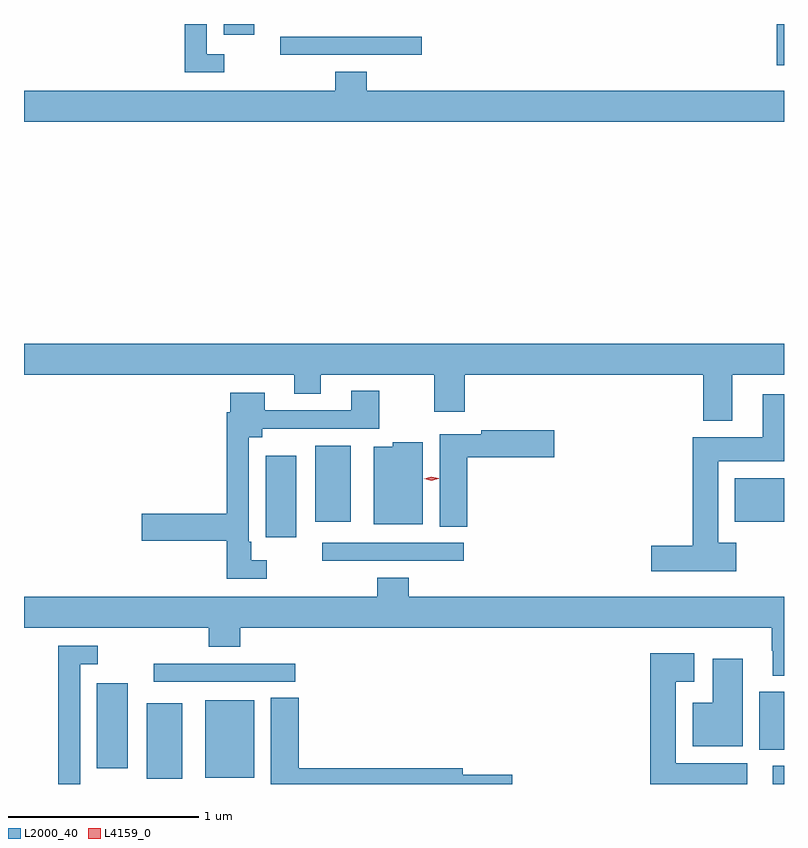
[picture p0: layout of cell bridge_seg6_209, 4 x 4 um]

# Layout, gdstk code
import gdstk
lib = gdstk.Library(unit=1e-6, precision=1e-09)
def R(c, l, rs):  # rectangles x0, y0, x1, y1
    for r in rs: c.add(gdstk.rectangle(r[:2], r[2:], *l))
def P(c, l, *ps):  # polygons
    for p in ps: c.add(gdstk.Polygon(p, *l))
L2000_40 = (2000, 40)
L4159_0 = (4159, 0)

bridge_seg6_209 = lib.new_cell('bridge_seg6_209')
R(bridge_seg6_209, L2000_40, [(136.025,954.506,136.083,954.601), (132.728,954.533,132.916,954.931), (133.037,954.539,133.294,954.946), (132.467,954.588,132.628,955.036), (135.953,954.686,136.083,954.991), (132.765,955.044,133.51,955.14), (133.653,955.68,134.398,955.776), (133.355,955.806,133.516,956.233), (133.616,955.886,133.804,956.287), (135.824,955.886,136.083,956.116), (136.046,958.289,136.083,958.506), (133.431,958.344,134.176,958.44), (133.133,958.449,133.294,958.506)])
P(bridge_seg6_209, L2000_40, [(133.138,958.347),(133.044,958.347),(133.044,958.506),(132.928,958.506),(132.928,958.251),(133.138,958.251)],
  [(136.083,958.156),(133.886,958.156),(133.886,958.255),(133.721,958.255),(133.721,958.156),(132.083,958.156),(132.083,957.992),(136.083,957.992)],
  [(135.811,956.66),(136.083,956.66),(136.083,956.824),(132.083,956.824),(132.083,956.66),(133.505,956.66),(133.505,956.561),(133.645,956.561),(133.645,956.66),(134.242,956.66),(134.242,956.466),(134.402,956.466),(134.402,956.66),(135.659,956.66),(135.659,956.417),(135.811,956.417)],
  [(133.36,955.683),(133.278,955.683),(133.278,955.78),(133.266,955.78),(133.266,956.33),(133.336,956.33),(133.336,956.376),(133.953,956.376),(133.953,956.575),(133.805,956.575),(133.805,956.472),(133.351,956.472),(133.351,956.566),(133.169,956.566),(133.169,956.462),(133.15,956.462),(133.15,955.928),(132.702,955.928),(132.702,955.786),(133.15,955.786),(133.15,955.587),(133.36,955.587)],
  [(135.832,955.777),(135.736,955.777),(135.736,956.204),(136.083,956.204),(136.083,956.557),(135.971,956.557),(135.971,956.332),(135.602,956.332),(135.602,955.76),(135.384,955.76),(135.384,955.625),(135.832,955.625)],
  [(134.417,956.225),(134.875,956.225),(134.875,956.367),(134.49,956.367),(134.49,956.347),(134.27,956.347),(134.27,955.861),(134.417,955.861)],
  [(134.182,956.305),(134.025,956.305),(134.025,956.281),(133.925,956.281),(133.925,955.874),(134.182,955.874)],
  [(136.083,955.492),(134.108,955.492),(134.108,955.591),(133.943,955.591),(133.943,955.492),(132.083,955.492),(132.083,955.328),(133.055,955.328),(133.055,955.229),(133.22,955.229),(133.22,955.328),(136.018,955.328),(136.018,955.208),(136.025,955.208),(136.025,955.076),(136.083,955.076)],
  [(132.378,955.137),(132.472,955.137),(132.472,955.233),(132.262,955.233),(132.262,954.506),(132.378,954.506)],
  [(135.889,954.616),(135.514,954.616),(135.514,955.043),(135.61,955.043),(135.61,955.195),(135.38,955.195),(135.38,954.506),(135.889,954.506)],
  [(135.865,955.165),(135.707,955.165),(135.707,954.934),(135.602,954.934),(135.602,954.704),(135.865,954.704)],
  [(134.653,954.554),(134.392,954.554),(134.392,954.59),(133.529,954.59),(133.529,954.959),(133.382,954.959),(133.382,954.506),(134.653,954.506)])
P(bridge_seg6_209, L4159_0, [(134.227,956.103),(134.189,956.112),(134.189,956.113),(134.189,956.113),(134.227,956.123),(134.265,956.114),(134.266,956.114),(134.265,956.113)])

lib.write_gds('bridge_seg6_209.gds')
